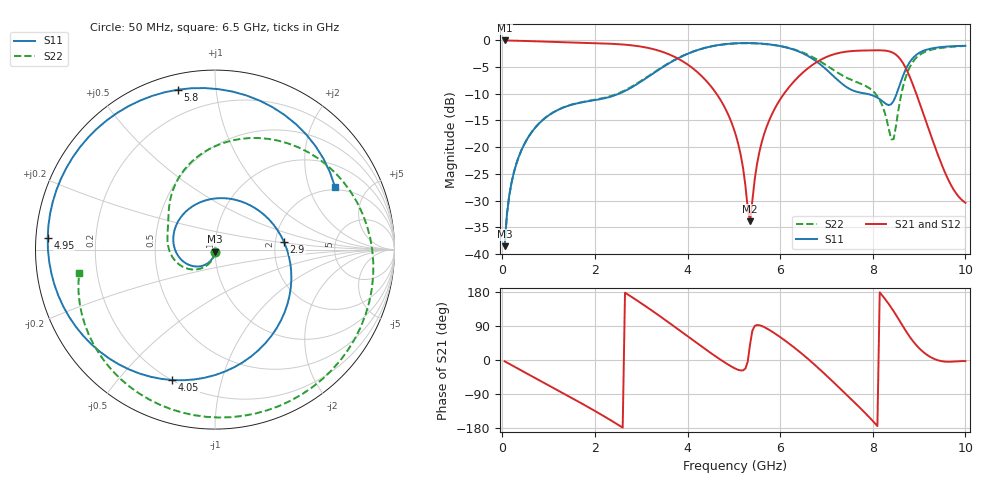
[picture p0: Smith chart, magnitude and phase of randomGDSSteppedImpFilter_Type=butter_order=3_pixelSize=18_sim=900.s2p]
! freq	dB(S11)	phase(S11)	dB(S12)	phase(S12)
!  dB(S21)	phase(S21)	dB(S22)	phase(S22)
!S-par simulation data
#  GHz  S  DB  R 50
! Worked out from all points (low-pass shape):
!   200 points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, 50 MHz to 10 GHz, reference 50 ohm
!   highest |S21| = -0.01 dB at 50 MHz (marker M1); lowest = -33.9 dB at 5.35 GHz (marker M2)
!   |S21| within 3 dB of the highest: start of sweep to 3.704 GHz; 7.027 GHz to 8.544 GHz (1.517 GHz wide, 19.5 % of centre)
!   lowest |S11| = -38.5 dB at 50 MHz (marker M3), VSWR 1.02, Z = 49.9 - j1.18 ohm
!   |S11| at or under -10 dB: start of sweep to 2.515 GHz; 7.869 GHz to 8.514 GHz (644.4 MHz wide, 7.87 % of centre)
!   |S22| runs from -38.5 to -0.5 dB; largest |S21 - S12| = 0
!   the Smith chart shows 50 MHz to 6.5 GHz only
!   S11 on the Smith chart (normalised r, x): 50 MHz: 1.00, -0.02; 2.9 GHz: 2.24, +0.21; 4.05 GHz: 0.20, -0.71; 4.95 GHz: 0.03, +0.04; 5.8 GHz: 0.07, +0.79; 6.5 GHz: 1.86, +3.01
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0.05  -38.54 -93.6  -0.01 -3.4  -0.01 -3.4  -38.52 -92.9
0.2  -26.63 -104.7  -0.03 -13.5  -0.03 -13.5  -26.62 -102.3
0.5  -19.03 -127.1  -0.10 -33.6  -0.10 -33.6  -19.03 -120.9
1.75  -11.55 132.4  -0.47 -117.1  -0.47 -117.1  -11.51 172.3
2.9  -8.23 6.0  -1.04 157.9  -1.04 157.9  -8.11 127.9
3.4  -5.36 -47.2  -1.97 115.9  -1.97 115.9  -5.28 96.8
4.05  -2.33 -108.0  -4.80 58.2  -4.80 58.2  -2.31 41.7
4.5  -1.14 -146.8  -8.53 18.6  -8.53 18.6  -1.14 -0.3
4.95  -0.59 175.9  -15.38 -17.4  -15.38 -17.4  -0.61 -41.4
5.05  -0.54 167.7  -17.95 -23.7  -17.95 -23.7  -0.56 -50.3
5.35  -0.50 142.8  -33.89 41.1  -33.89 41.1  -0.53 -76.2
5.8  -0.78 103.0  -14.25 76.8  -14.25 76.8  -0.80 -113.7
6.5  -2.45 27.6  -5.94 13.4  -5.94 13.4  -2.30 -170.3
6.7  -3.43 0.9  -4.57 -7.6  -4.57 -7.6  -3.11 174.3
7.1  -6.27 -62.3  -2.76 -52.6  -2.76 -52.6  -5.25 147.0
7.55  -9.30 -150.5  -1.99 -105.4  -1.99 -105.4  -7.44 122.7
8  -10.31 129.4  -1.86 -160.8  -1.86 -160.8  -9.45 87.7
8.35  -12.11 105.5  -2.03 146.9  -2.03 146.9  -16.75 12.2
8.6  -7.87 109.1  -3.57 99.3  -3.57 99.3  -10.75 -139.5
8.9  -3.00 71.7  -9.06 44.9  -9.06 44.9  -3.62 150.2
9.35  -1.38 21.4  -20.09 1.7  -20.09 1.7  -1.58 91.3
10  -1.00 -26.6  -30.42 -2.9  -30.42 -2.9  -1.03 39.7
